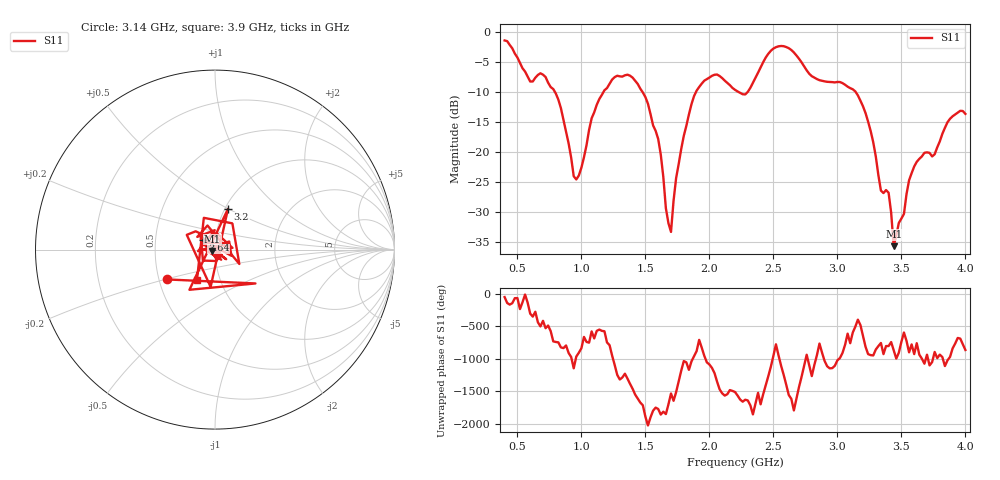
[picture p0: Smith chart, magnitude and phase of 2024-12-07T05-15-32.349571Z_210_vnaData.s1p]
!Created with skrf (http://scikit-rf.org).
# Hz S RI R 50.0
!freq ReS11 ImS11
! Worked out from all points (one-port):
!   181 points, 400 MHz to 4 GHz, reference 50 ohm
!   lowest |S11| = -35.8 dB at 3.44 GHz (marker M1), VSWR 1.03, Z = 48.6 - j0.784 ohm
!   |S11| at or under -10 dB: 791.4 MHz to 1.174 GHz (383 MHz wide, 39 % of centre); 1.475 GHz to 1.897 GHz (421.6 MHz wide, 25 % of centre); 3.141 GHz to end of sweep (the widest 3 of 4)
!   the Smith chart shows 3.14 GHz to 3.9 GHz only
!   S11 on the Smith chart (normalised r, x): 3.14 GHz: 0.55, -0.20; 3.2 GHz: 1.03, +0.50; 3.64 GHz: 0.87, +0.09; 3.9 GHz: 0.78, -0.27
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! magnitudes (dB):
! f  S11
! 400 MHz  -1.5
! 600 MHz  -8.3
! 720 MHz  -7.6
! 860 MHz  -14.8
! 960 MHz  -24.6
! 1.12 GHz  -12.2
! 1.3 GHz  -7.5
! 1.52 GHz  -12.0
! 1.6 GHz  -17.9
! 1.7 GHz  -33.4
! 1.76 GHz  -22.1
! 1.92 GHz  -9.2
! 2.06 GHz  -7.2
! 2.2 GHz  -9.7
! 2.3 GHz  -10.1
! 2.5 GHz  -2.8
! 2.66 GHz  -3.5
! 3.1 GHz  -9.4
! 3.14 GHz  -10.0
! 3.2 GHz  -12.5
! 3.34 GHz  -26.5
! 3.4 GHz  -26.9
! 3.44 GHz  -35.8
! 3.56 GHz  -24.8
! 3.64 GHz  -21.2
! 3.76 GHz  -20.4
! 3.9 GHz  -14.1
! 4 GHz  -13.7
